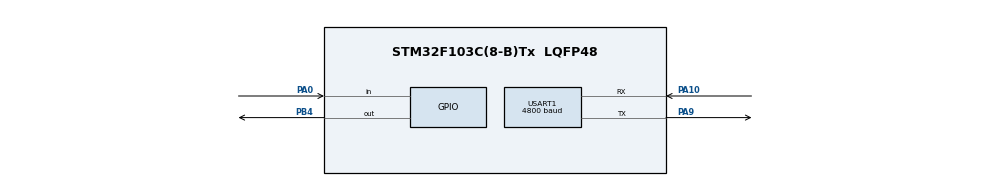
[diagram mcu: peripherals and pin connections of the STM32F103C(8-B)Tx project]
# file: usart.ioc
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Mcu.Family=STM32F1
Mcu.Name=STM32F103C(8-B)Tx
Mcu.Package=LQFP48
NVIC.PriorityGroup=NVIC_PRIORITYGROUP_4
PA0-WKUP.GPIO_PuPd=GPIO_PULLUP
PA0-WKUP.Signal=GPIO_Input
PA10.Mode=Asynchronous
PA10.Signal=USART1_RX
PA9.Mode=Asynchronous
PA9.Signal=USART1_TX
PB4.Signal=GPIO_Output
ProjectManager.HeapSize=0x200
ProjectManager.StackSize=0x400
ProjectManager.TargetToolchain=MDK-ARM V5
RCC.APB1Freq_Value=8000000
RCC.APB2Freq_Value=8000000
USART1.BaudRate=4800
USART1.VirtualMode=VM_ASYNC
VP_SYS_VS_ND.Mode=No_Debug
board=custom

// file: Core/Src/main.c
/* USER CODE BEGIN Header */
/**
  ******************************************************************************
  * @file           : main.c
  * @brief          : Main program body
  ******************************************************************************
  * @attention
  *
  * Copyright (c) 2022 STMicroelectronics.
  * All rights reserved.
  *
  * This software is licensed under terms that can be found in the LICENSE file
  * in the root directory of this software component.
  * If no LICENSE file comes with this software, it is provided AS-IS.
  *
  ******************************************************************************
  */
/* USER CODE END Header */
#include "main.h"

UART_HandleTypeDef huart1;

/* USER CODE BEGIN PV */
uint8_t M1[30] = "Vu Duc Trong";
uint8_t M2[30] = "2019600061";
uint8_t M3[30] = "Khoa Dien Tu";
uint8_t M4[30] = "Dai hoc Cong nghiep Ha Noi";
uint8_t M5[30] = "Xin Chao K14";
char xuongDong, xoaMH;
int count = 0;
/* USER CODE END PV */

void SystemClock_Config(void);
static void MX_GPIO_Init(void);
static void MX_USART1_UART_Init(void);

int main(void)
{

  /* MCU Configuration--------------------------------------------------------*/

  /* Reset of all peripherals, Initializes the Flash interface and the Systick. */
  HAL_Init();

  /* Configure the system clock */
  SystemClock_Config();

  /* Initialize all configured peripherals */
  MX_GPIO_Init();
  MX_USART1_UART_Init();
  /* USER CODE BEGIN 2 */
	xuongDong = 0x0d;
	xoaMH = 0x0c;

	HAL_UART_Transmit(&huart1, &M1[0], 35, 60);
	HAL_UART_Transmit(&huart1, &xuongDong, 1, 30);
	HAL_UART_Transmit(&huart1, &M2[0], 10, 45);
	HAL_GPIO_WritePin(GPIOB, GPIO_PIN_4, GPIO_PIN_SET);
	HAL_Delay(1000);

	HAL_UART_Transmit(&huart1, &xoaMH, 1, 95);
	HAL_GPIO_WritePin(GPIOB, GPIO_PIN_4, GPIO_PIN_RESET);
  /* USER CODE END 2 */

  /* Infinite loop */
  while (1)
  {
		if(HAL_GPIO_ReadPin(GPIOA, GPIO_PIN_0) == 0) {
			while(HAL_GPIO_ReadPin(GPIOA, GPIO_PIN_0) == 0);
			HAL_GPIO_WritePin(GPIOB, GPIO_PIN_4, GPIO_PIN_SET);

			if(count == 3) {
				count = 1;
			} else {
				count++;
			}

			if(count > 255) count = 0;
		} else {
			HAL_GPIO_WritePin(GPIOB, GPIO_PIN_4, GPIO_PIN_RESET);
		}

		if(count == 1) {
			HAL_UART_Transmit(&huart1, &xoaMH, 1, 10);
			HAL_UART_Transmit(&huart1, &M3[0], 35, 60);
			HAL_Delay(100);

		} else if(count == 2) {
			HAL_UART_Transmit(&huart1, &xoaMH, 1, 10);
			HAL_UART_Transmit(&huart1, &M4[0], 50, 60);

			HAL_Delay(100);
		} else if(count == 3) {
			HAL_Delay(100);
			HAL_UART_Transmit(&huart1, &xoaMH, 1, 10);
			HAL_UART_Transmit(&huart1, &M5[0], 50, 60);
		}
  }
}

void SystemClock_Config(void)
{
  RCC_OscInitTypeDef RCC_OscInitStruct = {0};
  RCC_ClkInitTypeDef RCC_ClkInitStruct = {0};

  /** Initializes the RCC Oscillators according to the specified parameters
  * in the RCC_OscInitTypeDef structure.
  */
  RCC_OscInitStruct.OscillatorType = RCC_OSCILLATORTYPE_HSI;
  RCC_OscInitStruct.HSIState = RCC_HSI_ON;
  RCC_OscInitStruct.HSICalibrationValue = RCC_HSICALIBRATION_DEFAULT;
  RCC_OscInitStruct.PLL.PLLState = RCC_PLL_NONE;
  if (HAL_RCC_OscConfig(&RCC_OscInitStruct) != HAL_OK)
  {
    Error_Handler();
  }

  /** Initializes the CPU, AHB and APB buses clocks
  */
  RCC_ClkInitStruct.ClockType = RCC_CLOCKTYPE_HCLK|RCC_CLOCKTYPE_SYSCLK
                              |RCC_CLOCKTYPE_PCLK1|RCC_CLOCKTYPE_PCLK2;
  RCC_ClkInitStruct.SYSCLKSource = RCC_SYSCLKSOURCE_HSI;
  RCC_ClkInitStruct.AHBCLKDivider = RCC_SYSCLK_DIV1;
  RCC_ClkInitStruct.APB1CLKDivider = RCC_HCLK_DIV1;
  RCC_ClkInitStruct.APB2CLKDivider = RCC_HCLK_DIV1;

  if (HAL_RCC_ClockConfig(&RCC_ClkInitStruct, FLASH_LATENCY_0) != HAL_OK)
  {
    Error_Handler();
  }
}

static void MX_USART1_UART_Init(void)
{

  huart1.Instance = USART1;
  huart1.Init.BaudRate = 4800;
  huart1.Init.WordLength = UART_WORDLENGTH_8B;
  huart1.Init.StopBits = UART_STOPBITS_1;
  huart1.Init.Parity = UART_PARITY_NONE;
  huart1.Init.Mode = UART_MODE_TX_RX;
  huart1.Init.HwFlowCtl = UART_HWCONTROL_NONE;
  huart1.Init.OverSampling = UART_OVERSAMPLING_16;
  if (HAL_UART_Init(&huart1) != HAL_OK)
  {
    Error_Handler();
  }

}

static void MX_GPIO_Init(void)
{
  GPIO_InitTypeDef GPIO_InitStruct = {0};

  /* GPIO Ports Clock Enable */
  __HAL_RCC_GPIOA_CLK_ENABLE();
  __HAL_RCC_GPIOB_CLK_ENABLE();

  /*Configure GPIO pin Output Level */
  HAL_GPIO_WritePin(GPIOB, GPIO_PIN_4, GPIO_PIN_RESET);

  /*Configure GPIO pin : PA0 */
  GPIO_InitStruct.Pin = GPIO_PIN_0;
  GPIO_InitStruct.Mode = GPIO_MODE_INPUT;
  GPIO_InitStruct.Pull = GPIO_PULLUP;
  HAL_GPIO_Init(GPIOA, &GPIO_InitStruct);

  /*Configure GPIO pin : PB4 */
  GPIO_InitStruct.Pin = GPIO_PIN_4;
  GPIO_InitStruct.Mode = GPIO_MODE_OUTPUT_PP;
  GPIO_InitStruct.Pull = GPIO_NOPULL;
  GPIO_InitStruct.Speed = GPIO_SPEED_FREQ_LOW;
  HAL_GPIO_Init(GPIOB, &GPIO_InitStruct);

}

void Error_Handler(void)
{
  __disable_irq();
  while (1)
  {
  }
}
